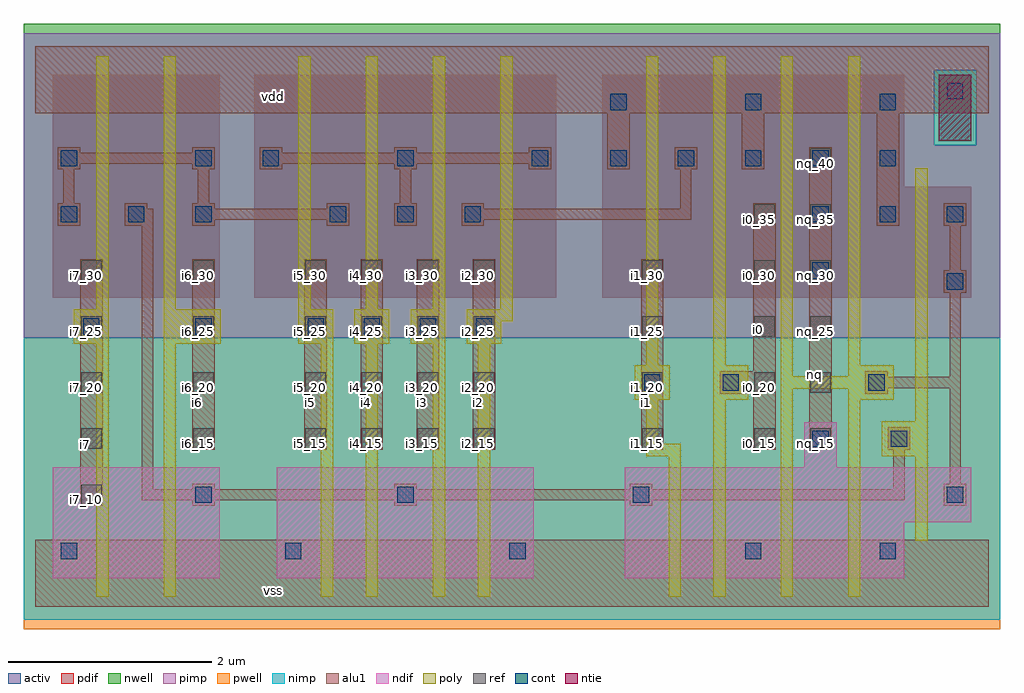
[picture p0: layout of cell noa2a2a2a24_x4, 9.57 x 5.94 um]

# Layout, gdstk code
import gdstk
lib = gdstk.Library(unit=1e-6, precision=2.5e-09)
def R(c, l, rs):  # rectangles x0, y0, x1, y1
    for r in rs: c.add(gdstk.rectangle(r[:2], r[2:], *l))
def A(c, l, x, y, w, h, nx, ny, dx, dy):  # array of equal rectangles
    R(c, l, [(x+i*dx, y+j*dy, x+i*dx+w, y+j*dy+h) for i in range(nx) for j in range(ny)])
ndif = (3, 0)
pdif = (4, 0)
ntie = (5, 0)
ref = (24, 0)
cont = (25, 0)
pwell = (41, 0)
nwell = (42, 0)
activ = (43, 0)
pimp = (44, 0)
nimp = (45, 0)
poly = (46, 0)
alu1 = (49, 0)

noa2a2a2a24_x4 = lib.new_cell('noa2a2a2a24_x4')
R(noa2a2a2a24_x4, ndif, [(0.17,0.28,1.81,1.37), (0.17,0.28,1.81,1.37), (2.37,0.28,4.89,1.37), (2.37,0.28,4.89,1.37), (5.78,0.28,8.52,0.83), (5.78,0.28,8.52,0.83), (5.78,0.83,9.18,1.37), (5.78,0.83,9.18,1.37), (7.54,1.37,7.86,1.81), (7.54,1.37,7.86,1.81)])
R(noa2a2a2a24_x4, pdif, [(0.17,3.03,1.81,5.22), (0.17,3.03,1.81,5.22), (2.15,3.03,5.11,5.22), (2.15,3.03,5.11,5.22), (5.56,3.03,9.18,4.12), (5.56,3.03,9.18,4.12), (5.56,4.12,8.52,5.22), (5.56,4.12,8.52,5.22)])
R(noa2a2a2a24_x4, ntie, [(8.86,4.57,9.18,5.22), (8.86,4.57,9.18,5.22)])
A(noa2a2a2a24_x4, ref, 0.45, 1.55, 0.2, 0.2, 3, 4, 1.1, 0.55)
A(noa2a2a2a24_x4, ref, 3.2, 1.55, 0.2, 0.2, 3, 4, 0.55, 0.55)
A(noa2a2a2a24_x4, ref, 5.95, 1.55, 0.2, 0.2, 1, 4, 0, 0.55)
A(noa2a2a2a24_x4, ref, 7.05, 1.55, 0.2, 0.2, 1, 5, 0, 0.55)
A(noa2a2a2a24_x4, ref, 7.6, 1.55, 0.2, 0.2, 1, 6, 0, 0.55)
R(noa2a2a2a24_x4, ref, [(0.45,1,0.65,1.2)])
A(noa2a2a2a24_x4, cont, 0.25, 0.47, 0.16, 0.16, 3, 1, 2.2, 0)
A(noa2a2a2a24_x4, cont, 0.47, 2.67, 0.16, 0.16, 3, 1, 1.1, 0)
A(noa2a2a2a24_x4, cont, 3.22, 2.67, 0.16, 0.16, 3, 1, 0.55, 0)
A(noa2a2a2a24_x4, cont, 0.25, 3.77, 0.16, 0.16, 3, 1, 0.66, 0)
A(noa2a2a2a24_x4, cont, 2.89, 3.77, 0.16, 0.16, 3, 1, 0.66, 0)
A(noa2a2a2a24_x4, cont, 7.62, 3.77, 0.16, 0.16, 3, 1, 0.66, 0)
A(noa2a2a2a24_x4, cont, 2.23, 4.32, 0.16, 0.16, 3, 1, 1.32, 0)
A(noa2a2a2a24_x4, cont, 5.64, 4.32, 0.16, 0.16, 5, 1, 0.66, 0)
A(noa2a2a2a24_x4, cont, 5.64, 4.87, 0.16, 0.16, 3, 1, 1.32, 0)
R(noa2a2a2a24_x4, cont, [(6.96,0.47,7.12,0.63), (8.28,0.47,8.44,0.63), (1.57,1.02,1.73,1.18), (3.55,1.02,3.71,1.18), (5.86,1.02,6.02,1.18), (8.94,1.02,9.1,1.18), (7.62,1.57,7.78,1.73), (8.39,1.57,8.55,1.73), (5.97,2.12,6.13,2.28), (6.74,2.12,6.9,2.28), (8.17,2.12,8.33,2.28), (8.94,3.11,9.1,3.27), (7.62,3.22,7.78,3.38), (0.25,4.32,0.41,4.48), (1.57,4.32,1.73,4.48), (8.94,4.98,9.1,5.14)])
R(noa2a2a2a24_x4, pwell, [(-0.11,-0.22,9.46,2.64)])
R(noa2a2a2a24_x4, nwell, [(-0.11,2.64,9.46,5.72)])
R(noa2a2a2a24_x4, activ, [(0.17,0.28,1.81,1.37), (0.17,0.28,1.81,1.37), (2.37,0.28,4.89,1.37), (2.37,0.28,4.89,1.37), (5.78,0.28,8.52,0.83), (5.78,0.28,8.52,0.83), (5.78,0.83,9.18,1.37), (5.78,0.83,9.18,1.37), (7.54,1.37,7.86,1.81), (7.54,1.37,7.86,1.81), (0.17,3.03,1.81,5.22), (0.17,3.03,1.81,5.22), (2.15,3.03,5.11,5.22), (2.15,3.03,5.11,5.22), (5.56,3.03,9.18,4.12), (5.56,3.03,9.18,4.12), (5.56,4.12,8.52,5.22), (5.56,4.12,8.52,5.22), (8.86,4.57,9.18,5.22), (8.86,4.57,9.18,5.22)])
R(noa2a2a2a24_x4, pimp, [(-0.11,2.64,9.46,4.525), (-0.11,4.525,8.815,5.265), (9.225,4.525,9.46,5.265), (-0.11,5.265,9.46,5.625)])
R(noa2a2a2a24_x4, nimp, [(-0.11,-0.125,9.46,2.64), (8.815,4.525,9.225,5.265)])
A(noa2a2a2a24_x4, poly, 2.58, 2.58, 0.34, 0.34, 3, 1, 0.55, 0)
A(noa2a2a2a24_x4, poly, 2.58, 2.92, 0.12, 2.48, 4, 1, 0.66, 0)
R(noa2a2a2a24_x4, poly, [(0.6,0.1,0.72,2.58), (1.26,0.1,1.38,2.58), (2.8,0.1,2.92,2.58), (3.24,0.1,3.36,2.58), (3.9,0.1,4.02,2.58), (4.34,0.1,4.46,2.58), (6.21,0.1,6.33,1.48), (6.65,0.1,6.77,2.03), (7.31,0.1,7.43,2.14), (7.97,0.1,8.09,2.03), (8.63,0.65,8.75,1.48), (5.99,1.48,6.33,1.6), (8.3,1.48,8.75,1.82), (5.99,1.6,6.11,2.03), (8.63,1.82,8.75,4.3), (5.88,2.03,6.22,2.37), (6.65,2.03,6.99,2.37), (7.97,2.03,8.42,2.14), (7.31,2.14,8.42,2.26), (7.31,2.26,7.43,5.4), (7.97,2.26,8.42,2.37), (5.99,2.37,6.11,5.4), (6.65,2.37,6.77,5.4), (7.97,2.37,8.09,5.4), (0.38,2.58,0.72,2.92), (1.26,2.58,1.82,2.92), (4.23,2.58,4.57,2.8), (4.23,2.8,4.68,2.92), (0.6,2.92,0.72,5.4), (1.26,2.92,1.38,5.4)])
A(noa2a2a2a24_x4, alu1, 2.64, 1.54, 0.22, 1.87, 4, 1, 0.55, 0)
A(noa2a2a2a24_x4, alu1, 1.54, 3.74, 0.22, 0.055, 3, 2, 1.32, 0.165)
A(noa2a2a2a24_x4, alu1, 2.2, 4.29, 0.22, 0.055, 3, 2, 1.32, 0.165)
R(noa2a2a2a24_x4, alu1, [(0,0,9.35,0.66), (0.44,0.99,0.66,3.41), (1.54,0.99,1.76,1.045), (3.52,0.99,3.74,1.045), (5.83,0.99,6.05,1.045), (8.91,0.99,9.13,1.21), (1.045,1.045,8.525,1.155), (1.045,1.155,1.155,3.74), (1.54,1.155,1.76,1.21), (3.52,1.155,3.74,1.21), (5.83,1.155,6.05,1.21), (8.415,1.155,8.525,1.54), (8.965,1.21,9.075,2.145), (1.54,1.54,1.76,3.41), (5.94,1.54,6.16,3.41), (7.04,1.54,7.26,2.09), (7.59,1.54,7.81,4.51), (8.36,1.54,8.58,1.76), (6.71,2.09,7.26,2.31), (8.14,2.09,8.36,2.145), (8.14,2.145,9.075,2.255), (8.14,2.255,8.36,2.31), (8.965,2.255,9.075,3.08), (7.04,2.31,7.26,3.96), (8.91,3.08,9.13,3.3), (8.965,3.3,9.075,3.74), (0.22,3.74,0.44,3.96), (0.88,3.74,1.155,3.905), (3.52,3.74,3.74,3.96), (8.25,3.74,8.47,4.84), (8.91,3.74,9.13,3.96), (1.54,3.795,3.08,3.905), (4.18,3.795,6.435,3.905), (0.88,3.905,1.1,3.96), (6.325,3.905,6.435,4.29), (0.275,3.96,0.385,4.29), (1.595,3.96,1.705,4.29), (3.575,3.96,3.685,4.29), (0.22,4.29,0.44,4.345), (1.54,4.29,1.76,4.345), (5.61,4.29,5.83,4.84), (6.27,4.29,6.49,4.51), (6.93,4.29,7.15,4.84), (0.22,4.345,1.76,4.455), (2.2,4.345,5.06,4.455), (0.22,4.455,0.44,4.51), (1.54,4.455,1.76,4.51), (0,4.84,9.35,5.5)])
noa2a2a2a24_x4.add(gdstk.Label('vss', (2.3375,0.165), layer=49, texttype=0))
noa2a2a2a24_x4.add(gdstk.Label('nq', (7.645,2.2825), layer=49, texttype=0))
noa2a2a2a24_x4.add(gdstk.Label('i0', (7.095,2.7225), layer=49, texttype=0))
noa2a2a2a24_x4.add(gdstk.Label('i1', (5.995,2.0075), layer=49, texttype=0))
noa2a2a2a24_x4.add(gdstk.Label('i2', (4.345,2.0075), layer=49, texttype=0))
noa2a2a2a24_x4.add(gdstk.Label('i3', (3.795,2.0075), layer=49, texttype=0))
noa2a2a2a24_x4.add(gdstk.Label('i4', (3.245,2.0075), layer=49, texttype=0))
noa2a2a2a24_x4.add(gdstk.Label('i5', (2.695,2.0075), layer=49, texttype=0))
noa2a2a2a24_x4.add(gdstk.Label('i6', (1.595,2.0075), layer=49, texttype=0))
noa2a2a2a24_x4.add(gdstk.Label('i7', (0.495,1.595), layer=49, texttype=0))
noa2a2a2a24_x4.add(gdstk.Label('vdd', (2.3375,5.005), layer=49, texttype=0))
noa2a2a2a24_x4.add(gdstk.Label('i2_30', (4.35,3.25), layer=24, texttype=0))
noa2a2a2a24_x4.add(gdstk.Label('i2_25', (4.35,2.7), layer=24, texttype=0))
noa2a2a2a24_x4.add(gdstk.Label('i2_20', (4.35,2.15), layer=24, texttype=0))
noa2a2a2a24_x4.add(gdstk.Label('i2_15', (4.35,1.6), layer=24, texttype=0))
noa2a2a2a24_x4.add(gdstk.Label('i3_30', (3.8,3.25), layer=24, texttype=0))
noa2a2a2a24_x4.add(gdstk.Label('i3_25', (3.8,2.7), layer=24, texttype=0))
noa2a2a2a24_x4.add(gdstk.Label('i3_20', (3.8,2.15), layer=24, texttype=0))
noa2a2a2a24_x4.add(gdstk.Label('i3_15', (3.8,1.6), layer=24, texttype=0))
noa2a2a2a24_x4.add(gdstk.Label('i4_30', (3.25,3.25), layer=24, texttype=0))
noa2a2a2a24_x4.add(gdstk.Label('i4_25', (3.25,2.7), layer=24, texttype=0))
noa2a2a2a24_x4.add(gdstk.Label('i4_20', (3.25,2.15), layer=24, texttype=0))
noa2a2a2a24_x4.add(gdstk.Label('i4_15', (3.25,1.6), layer=24, texttype=0))
noa2a2a2a24_x4.add(gdstk.Label('i5_30', (2.7,3.25), layer=24, texttype=0))
noa2a2a2a24_x4.add(gdstk.Label('i5_25', (2.7,2.7), layer=24, texttype=0))
noa2a2a2a24_x4.add(gdstk.Label('i5_20', (2.7,2.15), layer=24, texttype=0))
noa2a2a2a24_x4.add(gdstk.Label('i5_15', (2.7,1.6), layer=24, texttype=0))
noa2a2a2a24_x4.add(gdstk.Label('i6_30', (1.6,3.25), layer=24, texttype=0))
noa2a2a2a24_x4.add(gdstk.Label('i6_25', (1.6,2.7), layer=24, texttype=0))
noa2a2a2a24_x4.add(gdstk.Label('i6_20', (1.6,2.15), layer=24, texttype=0))
noa2a2a2a24_x4.add(gdstk.Label('i6_15', (1.6,1.6), layer=24, texttype=0))
noa2a2a2a24_x4.add(gdstk.Label('i7_30', (0.5,3.25), layer=24, texttype=0))
noa2a2a2a24_x4.add(gdstk.Label('i7_25', (0.5,2.7), layer=24, texttype=0))
noa2a2a2a24_x4.add(gdstk.Label('i7_20', (0.5,2.15), layer=24, texttype=0))
noa2a2a2a24_x4.add(gdstk.Label('i7_15', (0.5,1.6), layer=24, texttype=0))
noa2a2a2a24_x4.add(gdstk.Label('i7_10', (0.5,1.05), layer=24, texttype=0))
noa2a2a2a24_x4.add(gdstk.Label('nq_25', (7.65,2.7), layer=24, texttype=0))
noa2a2a2a24_x4.add(gdstk.Label('nq_30', (7.65,3.25), layer=24, texttype=0))
noa2a2a2a24_x4.add(gdstk.Label('nq_35', (7.65,3.8), layer=24, texttype=0))
noa2a2a2a24_x4.add(gdstk.Label('nq_15', (7.65,1.6), layer=24, texttype=0))
noa2a2a2a24_x4.add(gdstk.Label('nq_20', (7.65,2.15), layer=24, texttype=0))
noa2a2a2a24_x4.add(gdstk.Label('nq_40', (7.65,4.35), layer=24, texttype=0))
noa2a2a2a24_x4.add(gdstk.Label('i0_30', (7.1,3.25), layer=24, texttype=0))
noa2a2a2a24_x4.add(gdstk.Label('i0_25', (7.1,2.7), layer=24, texttype=0))
noa2a2a2a24_x4.add(gdstk.Label('i0_20', (7.1,2.15), layer=24, texttype=0))
noa2a2a2a24_x4.add(gdstk.Label('i0_15', (7.1,1.6), layer=24, texttype=0))
noa2a2a2a24_x4.add(gdstk.Label('i1_15', (6,1.6), layer=24, texttype=0))
noa2a2a2a24_x4.add(gdstk.Label('i1_30', (6,3.25), layer=24, texttype=0))
noa2a2a2a24_x4.add(gdstk.Label('i1_25', (6,2.7), layer=24, texttype=0))
noa2a2a2a24_x4.add(gdstk.Label('i1_20', (6,2.15), layer=24, texttype=0))
noa2a2a2a24_x4.add(gdstk.Label('i0_35', (7.1,3.8), layer=24, texttype=0))

lib.write_gds('noa2a2a2a24_x4.gds')
